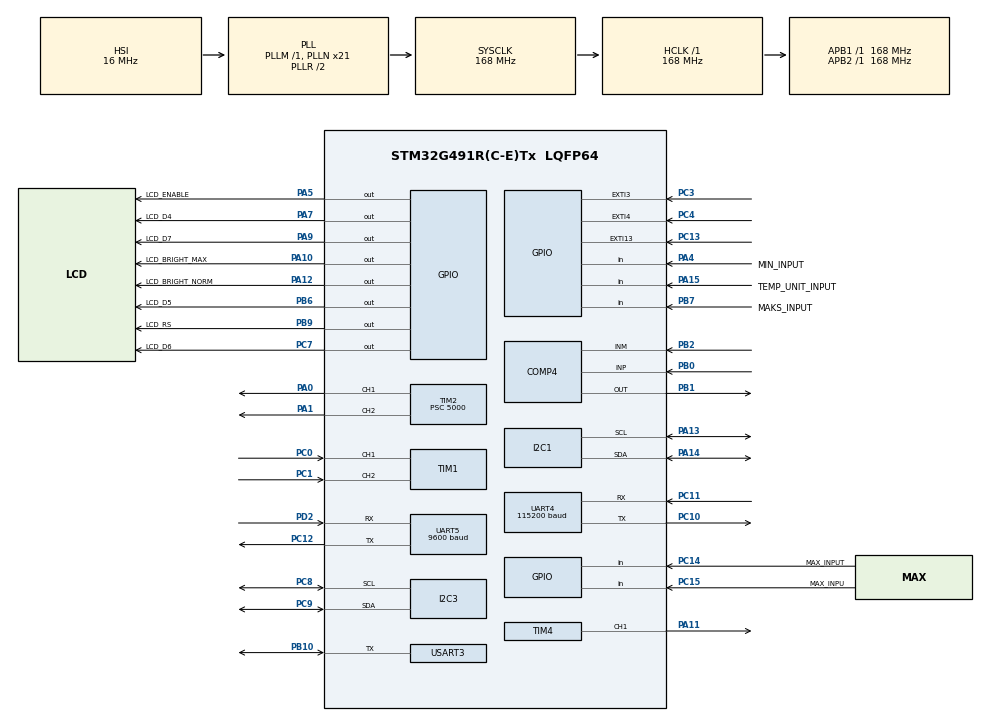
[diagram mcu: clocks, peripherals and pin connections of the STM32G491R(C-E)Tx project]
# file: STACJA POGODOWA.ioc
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I2C1.Timing=0x50916E9F
I2C3.Timing=0x50916E9F
Mcu.Family=STM32G4
Mcu.Name=STM32G491R(C-E)Tx
Mcu.Package=LQFP64
NVIC.EXTI15_10_IRQn=true\:0\:0\:false\:false\:true\:true\:true\:true
NVIC.EXTI3_IRQn=true\:0\:0\:false\:false\:true\:true\:true\:true
NVIC.EXTI4_IRQn=true\:0\:0\:false\:false\:true\:true\:true\:true
NVIC.PriorityGroup=NVIC_PRIORITYGROUP_4
NVIC.TIM3_IRQn=true\:0\:0\:false\:false\:true\:true\:true\:true
NVIC.TIM7_IRQn=true\:0\:0\:false\:false\:true\:true\:true\:true
PA0.Signal=S_TIM2_CH1
PA1.Signal=S_TIM2_CH2
PA10.GPIO_Label=LCD_BRIGHT_MAX
PA10.GPIO_ModeDefaultOutputPP=GPIO_MODE_OUTPUT_OD
PA10.GPIO_PuPd=GPIO_NOPULL
PA10.PinState=GPIO_PIN_SET
PA10.Signal=GPIO_Output
PA11.GPIO_PuPd=GPIO_PULLDOWN
PA11.Signal=S_TIM4_CH1
PA12.GPIO_Label=LCD_BRIGHT_NORM
PA12.GPIO_ModeDefaultOutputPP=GPIO_MODE_OUTPUT_OD
PA12.GPIO_PuPd=GPIO_NOPULL
PA12.PinState=GPIO_PIN_SET
PA12.Signal=GPIO_Output
PA13.Mode=I2C
PA13.Signal=I2C1_SCL
PA14.Mode=I2C
PA14.Signal=I2C1_SDA
PA15.GPIO_Label=TEMP_UNIT_INPUT
PA15.Signal=GPIO_Input
PA4.GPIO_Label=MIN_INPUT
PA4.GPIO_PuPd=GPIO_PULLUP
PA4.Signal=GPIO_Input
PA5.GPIO_Label=LCD_ENABLE
PA5.Signal=GPIO_Output
PA7.GPIO_Label=LCD_D4
PA7.Signal=GPIO_Output
PA9.GPIO_Label=LCD_D7
PA9.Signal=GPIO_Output
PB0.Mode=INP
PB0.Signal=COMP4_INP
PB1.Mode=ExternalOutput
PB1.Signal=COMP4_OUT
PB10.Mode=Half_duplex(single_wire_mode)
PB10.Signal=USART3_TX
PB2.Mode=INM
PB2.Signal=COMP4_INM
PB6.GPIO_Label=LCD_D5
PB6.Signal=GPIO_Output
PB7.GPIO_Label=MAKS_INPUT
PB7.GPIO_PuPd=GPIO_PULLUP
PB7.Signal=GPIO_Input
PB9.GPIO_Label=LCD_RS
PB9.Signal=GPIO_Output
PC0.Signal=S_TIM1_CH1
PC1.Signal=S_TIM1_CH2
PC10.Mode=Asynchronous
PC10.Signal=UART4_TX
PC11.Mode=Asynchronous
PC11.Signal=UART4_RX
PC12.Mode=Asynchronous
PC12.Signal=UART5_TX
PC13.GPIO_ModeDefaultEXTI=GPIO_MODE_IT_FALLING
PC13.Signal=GPXTI13
PC14-OSC32_IN.GPIO_Label=MAX_INPUT
PC14-OSC32_IN.GPIO_PuPd=GPIO_PULLUP
PC14-OSC32_IN.Signal=GPIO_Input
PC15-OSC32_OUT.GPIO_Label=MAX_INPU
PC15-OSC32_OUT.GPIO_PuPd=GPIO_PULLUP
PC15-OSC32_OUT.Signal=GPIO_Input
PC3.GPIO_ModeDefaultEXTI=GPIO_MODE_IT_FALLING
PC3.Signal=GPXTI3
PC4.GPIO_ModeDefaultEXTI=GPIO_MODE_IT_RISING_FALLING
PC4.Signal=GPXTI4
PC7.GPIO_Label=LCD_D6
PC7.Signal=GPIO_Output
PC8.Mode=I2C
PC8.Signal=I2C3_SCL
PC9.Mode=I2C
PC9.Signal=I2C3_SDA
PD2.Mode=Asynchronous
PD2.Signal=UART5_RX
PF0-OSC_IN.Mode=HSE-External-Oscillator
PF0-OSC_IN.Signal=RCC_OSC_IN
PF1-OSC_OUT.Mode=HSE-External-Oscillator
PF1-OSC_OUT.Signal=RCC_OSC_OUT
ProjectManager.HeapSize=0x200
ProjectManager.StackSize=0x400
ProjectManager.TargetToolchain=EWARM V8.50
RCC.ADC12Freq_Value=168000000
RCC.ADC345Freq_Value=168000000
RCC.AHBFreq_Value=168000000
RCC.APB1Freq_Value=168000000
RCC.APB1TimFreq_Value=168000000
RCC.APB2Freq_Value=168000000
RCC.APB2TimFreq_Value=168000000
RCC.CortexFreq_Value=168000000
RCC.EXTERNAL_CLOCK_VALUE=12288000
RCC.HCLKFreq_Value=168000000
RCC.HSE_VALUE=8000000
RCC.HSI48_VALUE=48000000
RCC.HSI_VALUE=16000000
RCC.LSE_VALUE=32768
RCC.PLLN=21
RCC.SYSCLKFreq_VALUE=168000000
RCC.SYSCLKSource=RCC_SYSCLKSOURCE_PLLCLK
RCC.USBFreq_Value=48000000
RCC.VCOOutputFreq_Value=336000000
RTC.Date=17
RTC.Hours=15
RTC.Minutes=39
RTC.Month=RTC_MONTH_FEBRUARY
RTC.WeekDay=RTC_WEEKDAY_SATURDAY
RTC.Year=24
SH.S_TIM1_CH1.0=TIM1_CH1,Encoder_Interface
SH.S_TIM1_CH2.0=TIM1_CH2,Encoder_Interface
SH.S_TIM2_CH1.0=TIM2_CH1,PWM Generation1 CH1
SH.S_TIM2_CH2.0=TIM2_CH2,PWM Generation2 CH2
SH.S_TIM4_CH1.0=TIM4_CH1,PWM Generation1 CH1
TIM2.Channel-PWM\ Generation1\ CH1=TIM_CHANNEL_1
TIM2.Channel-PWM\ Generation2\ CH2=TIM_CHANNEL_2
TIM2.PeriodNoDither=101
TIM2.Prescaler=5000
TIM2.PulseNoDither_1=40
TIM2.PulseNoDither_2=80
TIM3.AutoReloadPreload=TIM_AUTORELOAD_PRELOAD_DISABLE
TIM3.ClockDivision=TIM_CLOCKDIVISION_DIV4
TIM3.PeriodNoDither=59999
TIM3.Prescaler=59999
TIM4.AutoReloadPreload=TIM_AUTORELOAD_PRELOAD_DISABLE
TIM4.Channel-PWM\ Generation1\ CH1=TIM_CHANNEL_1
TIM4.ClockDivision=TIM_CLOCKDIVISION_DIV4
TIM4.Prescaler=648
TIM4.PulseNoDither_1=32000
TIM7.PeriodNoDither=2832
TIM7.Prescaler=59999
UART4.BaudRate=115200
UART5.BaudRate=9600
USART3.OverrunDisableParam=ADVFEATURE_OVERRUN_DISABLE
USART3.VirtualMode-Half_duplex(single_wire_mode)=VM_ASYNC
VP_DAC1_VS_DACI1.Mode=DAC_OUT1_Int
VP_RTC_VS_RTC_Activate.Mode=RTC_Enabled
VP_RTC_VS_RTC_Calendar.Mode=RTC_Calendar
VP_SYS_VS_DBSignals.Mode=DisableDeadBatterySignals
VP_TIM20_VS_ClockSourceINT.Mode=Internal
VP_TIM2_VS_ClockSourceINT.Mode=Internal
VP_TIM3_VS_ClockSourceINT.Mode=Internal
VP_TIM7_VS_ClockSourceINT.Mode=Enable_Timer
board=custom

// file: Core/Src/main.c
/* USER CODE BEGIN Header */
/**
  ******************************************************************************
  * @file           : main.c
  * @brief          : Main program body
  ******************************************************************************
  * @attention
  *
  * Copyright (c) 2024 STMicroelectronics.
  * All rights reserved.
  *
  * This software is licensed under terms that can be found in the LICENSE file
  * in the root directory of this software component.
  * If no LICENSE file comes with this software, it is provided AS-IS.
  *
  ******************************************************************************
  */
/* USER CODE END Header */
#include "main.h"
#include "comp.h"
#include "dac.h"
#include "i2c.h"
#include "rtc.h"
#include "tim.h"
#include "usart.h"
#include "gpio.h"

/* USER CODE BEGIN Includes */
#include <string.h>
#include <stdio.h>
#include <stdbool.h>
#include "exti.h"
#include "LPS25HB.h"
#include "SHT45.h"
#include "PMS7003.h"
#include "ILI9341.h"
#include "HD44780.h"
#include "RGB565.h"
#include "EPaper.h"
#include "OneWire.h"
#include "DS18B20.h"
#include "EEPROM_24AA01.h"
#include "units.h"
/* USER CODE END Includes */

/* USER CODE BEGIN PTD */
typedef union
{
  int16_t altitude;
  uint8_t memoryImage[2];
} altitudeUnion;

/* USER CODE END PTD */

/* USER CODE BEGIN PV */
 Measurements measurements;
 float tempFromSHT35;

bool isWarmingUp = true;
bool isFirstInterrupt = true;
bool shouldLightUpAlarmLED = false;
bool shouldUpdateEeprom = false;
bool shouldEnbleNormBrightness = false;
bool shoulEnable_maxBrightness = false;
bool shouldDelay = true;
bool isPM10Last = true;
altitudeUnion altitude;
/* USER CODE END PV */

void SystemClock_Config(void);
/* USER CODE BEGIN PFP */
void updateMinMaxF(float* value, float* min, float* max);
void updateMinMax(uint16_t* value, uint16_t* min, uint16_t* max);
/* USER CODE END PFP */

/* USER CODE BEGIN 0 */
void handleTimer3PeriodElapsed()
{
  if(isFirstInterrupt == true)
   {
     isFirstInterrupt = false;
   }
   else
   {
     HAL_TIM_Base_Stop_IT(&htim3);
     const char* communicate = "DEBUG: Gas sensor warmed up\r\n";
     HAL_UART_Transmit(&huart4, communicate, strlen(communicate), HAL_MAX_DELAY);
     HAL_GPIO_EXTI_Callback(GPIO_PIN_4);
   }
}

void handleTimer7PeriodElapsed()
{
  if(shouldLightUpAlarmLED == true)
   {
     HAL_TIM_PWM_Start(&htim2, TIM_CHANNEL_2);
     shouldLightUpAlarmLED = false;
   }
   else
   {
     HAL_TIM_PWM_Stop(&htim2, TIM_CHANNEL_2);
     shouldLightUpAlarmLED = true;
   }
}

void HAL_TIM_PeriodElapsedCallback(TIM_HandleTypeDef* htim)
{
  if(htim == &htim3) handleTimer3PeriodElapsed();
  else if(htim == &htim7) handleTimer7PeriodElapsed();
}

void updateMinMaxF(float* value, float* min, float* max)
{
    if(*min > *value) *min = *value;
    if(*max < *value) *max = *value;
}

void updateMinMax(uint16_t* value, uint16_t* min, uint16_t* max)
{
    if(*min > *value) *min = *value;
    if(*max < *value) *max = *value;
}

void convertMeasurementsToCelsius()
{
    measurements.tempUnit = CELSIUS;
    convertFahrenheitToCelsius(&measurements.outdoorTemp);
    convertFahrenheitToCelsius(&tempFromSHT35);
    convertFahrenheitToCelsius(&measurements.temp);
    convertFahrenheitToCelsius(&measurements.minTemp);
    convertFahrenheitToCelsius(&measurements.maxTemp);
    convertFahrenheitToCelsius(&measurements.maxOutdoorTemp);
    convertFahrenheitToCelsius(&measurements.minOutdoorTemp);
}

void convertMeasurementsToFahrenheit()
{
  measurements.tempUnit = FAHRENHEIT;
  convertCelsiusToFahrenheit(&measurements.outdoorTemp);
  convertCelsiusToFahrenheit(&tempFromSHT35);
  convertCelsiusToFahrenheit(&measurements.temp);
  convertCelsiusToFahrenheit(&measurements.minTemp);
  convertCelsiusToFahrenheit(&measurements.maxTemp);
  convertCelsiusToFahrenheit(&measurements.maxOutdoorTemp);
  convertCelsiusToFahrenheit(&measurements.minOutdoorTemp);
}

/* USER CODE END 0 */

int main(void)
{

  /* USER CODE BEGIN 1 */
  altitudeUnion tmp;
  /* USER CODE END 1 */

  /* MCU Configuration--------------------------------------------------------*/

  /* Reset of all peripherals, Initializes the Flash interface and the Systick. */
  HAL_Init();

  /* Configure the system clock */
  SystemClock_Config();

  /* Initialize all configured peripherals */
  MX_GPIO_Init();
  MX_UART4_Init();
  MX_I2C1_Init();
  MX_I2C3_Init();
  MX_RTC_Init();
  MX_UART5_Init();
  MX_DAC1_Init();
  MX_TIM2_Init();
  MX_TIM3_Init();
  MX_USART3_UART_Init();
  MX_TIM4_Init();
  MX_TIM7_Init();
  MX_COMP4_Init();
  MX_TIM1_Init();
  MX_TIM20_Init();
  /* USER CODE BEGIN 2 */
  oneWire_HandleTypeDef* hOneWire = &huart3;
  oneWireReset(hOneWire);
  HAL_GPIO_EXTI_Callback(GPIO_PIN_13);
  /* USER CODE END 2 */

  /* Infinite loop */
  /* USER CODE BEGIN WHILE */

  //HAL_GPIO_WritePin(LCD_BRIGHT_NORM_GPIO_Port, LCD_BRIGHT_NORM_Pin, GPIO_PIN_RESET);

  char communicate[256];
  char unit[5];

  uint32_t brightnessState;
  measurements.tempUnit = CELSIUS;

  RTC_DateTypeDef date;
  RTC_TimeTypeDef time;

  EEPROM_24AA01_HandleTypeDef eeprom;
  strcpy(eeprom.name, "i2c eeprom");
  eeprom.bus = &hi2c3;

  SHT45_HandleTypeDef sht45_Sensor;
  strcpy(sht45_Sensor.name, "indoor humidity sensor");
  sht45_Sensor.bus = &hi2c3;

  LPS25HB_HandleTypeDef lps25hb_Sensor;
  strcpy(lps25hb_Sensor.name, "indoor pressure sensor");
  lps25hb_Sensor.bus = &hi2c1;
  lps25hb_Sensor.sensorAltitude = altitude.altitude;

  PMS7003_HandleTypeDef pms7003_Sensor;
  strcpy(pms7003_Sensor.name, "indoor air pollution sensor");
  pms7003_Sensor.bus = &huart5;

  DS18B20_HandleTypeDef ds18b20_Sensor;
  strcpy(ds18b20_Sensor.name, "outdoor temperature sensor");
  ds18b20_Sensor.bus = hOneWire;
  uint8_t romCode[] = {0x28, 0x7e, 0x4c, 0x14, 0x00, 0x00, 0x00, 0x6b};
  for(uint8_t i = 0 ; i < 8; i++)
  {
    ds18b20_Sensor.idNumber[i] = romCode[i];
  }

  HAL_TIM_Base_Start(&htim2);
  HAL_TIM_PWM_Start(&htim2, TIM_CHANNEL_1);
  HAL_TIM_PWM_Start(&htim2, TIM_CHANNEL_2);
  HAL_TIM_Base_Start_IT(&htim3);

  HAL_TIM_Encoder_Start(&htim1, TIM_CHANNEL_ALL);
  EEPROM_24AA01_ReadByte(&eeprom, 0x40, &altitude.memoryImage[0]);
  EEPROM_24AA01_ReadByte(&eeprom, 0x41, &altitude.memoryImage[1]);
  __HAL_TIM_SET_COUNTER(&htim1, altitude.altitude * 2);

  sprintf(communicate, "Weather station hello!\r\n");
  HAL_UART_Transmit(&huart4, communicate, strlen(communicate), HAL_MAX_DELAY);
  SHT45_init(&sht45_Sensor);
  sprintf(communicate, "SHT45 initialization... OK\r\n");
  HAL_UART_Transmit(&huart4, communicate, strlen(communicate), HAL_MAX_DELAY);

  if(LPS25HB_init(&lps25hb_Sensor) == -1)
  {
    sprintf(communicate, "LPS25HB pressure sensor initliazation... FAILED\r\n");
    HAL_UART_Transmit(&huart4, communicate, strlen(communicate), HAL_MAX_DELAY);
  }
  else
  {
    sprintf(communicate, "LPS25HB pressure sesnsor initialization... OK\r\n");
    HAL_UART_Transmit(&huart4, communicate, strlen(communicate), HAL_MAX_DELAY);
  }

  HD44780_Pin d4;
  d4.Port = LCD_D4_GPIO_Port;
  d4.Pin = LCD_D4_Pin;

  HD44780_Pin d5;
  d5.Port = LCD_D5_GPIO_Port;
  d5.Pin = LCD_D5_Pin;

  HD44780_Pin d6;
  d6.Port = LCD_D6_GPIO_Port;
  d6.Pin = LCD_D6_Pin;

  HD44780_Pin d7;
  d7.Port = LCD_D7_GPIO_Port;
  d7.Pin = LCD_D7_Pin;

  HD44780_Pin rs;
  rs.Port = LCD_RS_GPIO_Port;
  rs.Pin = LCD_RS_Pin;

  HD44780_Pin enable;
  enable.Port = LCD_ENABLE_GPIO_Port;
  enable.Pin = LCD_ENABLE_Pin;

  HD44780_HandleTypeDef hHD44780;
  hHD44780.D4 = d4;
  hHD44780.D5 = d5;
  hHD44780.D6 = d6;
  hHD44780.D7 = d7;
  hHD44780.RS = rs;
  hHD44780.Enable = enable;

  HD44780_Init(&hHD44780);

  sprintf(communicate, "HD44780 initialization (master only) DONE\r\n");
  HAL_UART_Transmit(&huart4, communicate, strlen(communicate), HAL_MAX_DELAY);
  HAL_GPIO_WritePin(LCD_BRIGHT_NORM_GPIO_Port, LCD_BRIGHT_NORM_Pin, GPIO_PIN_RESET);

  char lcdString[21];
  HAL_COMP_Start(&hcomp4);
  HAL_DAC_Start(&hdac1, DAC_CHANNEL_1);
   HAL_DAC_SetValue(&hdac1, DAC_CHANNEL_1, DAC_ALIGN_12B_R, 02570); // dobrane empirycznie
  while (1)
  {
    brightnessState = HAL_COMP_GetOutputLevel(&hcomp4);
    //HAL_COMP_Stop(&hcomp4);
    //HAL_DAC_Stop(&hdac1, DAC_CHANNEL_1);
    PMS7003_getResults(&pms7003_Sensor, &measurements.pm1_0, &measurements.pm2_5, &measurements.pm10);
    updateMinMax(&measurements.pm1_0, &measurements.minPm1_0, &measurements.maxPm1_0);
      updateMinMax(&measurements.pm2_5, &measurements.minPm2_5, &measurements.maxPm2_5);
      updateMinMax(&measurements.pm10, &measurements.minPm10, &measurements.maxPm10);

      LPS25HB_performMeasurement(&lps25hb_Sensor);
      measurements.temp = LPS25HB_getTemp(&lps25hb_Sensor, measurements.tempUnit);
      updateMinMaxF(&measurements.temp, &measurements.minTemp, &measurements.maxTemp);

      altitude.altitude = (int16_t) (__HAL_TIM_GET_COUNTER(&htim1) / 2);
      if(altitude.altitude > 30000)
      {
        altitude.altitude -= 32768;
      }
      lps25hb_Sensor.sensorAltitude = altitude.altitude;
      measurements.pressure = LPS25HB_getPressureIn_hPa(&lps25hb_Sensor);
      updateMinMaxF(&measurements.pressure, &measurements.minPressure, &measurements.maxPressure);

      DS18B20_convertT(&ds18b20_Sensor);
      HAL_Delay(750);
      DS18B20_getResult(&ds18b20_Sensor, &measurements.outdoorTemp, measurements.tempUnit);
      HAL_Delay(10);
      updateMinMaxF(&measurements.outdoorTemp, &measurements.minOutdoorTemp, &measurements.maxOutdoorTemp);

      HAL_RTC_GetTime(&hrtc, &time, RTC_FORMAT_BIN);
      HAL_RTC_GetDate(&hrtc, &date, RTC_FORMAT_BIN);

      SHT45_getResults(&sht45_Sensor, &tempFromSHT35, measurements.tempUnit, &measurements.humidity);
      updateMinMaxF(&measurements.humidity, &measurements.minHumidity, &measurements.maxHumidity);

      if(HAL_GPIO_ReadPin(GPIOA, TEMP_UNIT_INPUT_Pin) == GPIO_PIN_RESET && measurements.tempUnit == CELSIUS)
      {
        convertMeasurementsToFahrenheit();
      }
      else if (HAL_GPIO_ReadPin(GPIOA, TEMP_UNIT_INPUT_Pin) == GPIO_PIN_SET && measurements.tempUnit == FAHRENHEIT)
      {
        convertMeasurementsToCelsius();
      }
      sprintf(unit, "%c", getTemperatureUnitSymbol(measurements.tempUnit));
      sprintf(communicate, "Raport na: %02d-%02d-%4d %02d:%02d:%02d\r\n",  date.Date, date.Month, date.Year + 2000, time.Hours, time.Minutes, time.Seconds);
      HAL_UART_Transmit(&huart4, communicate, strlen(communicate), HAL_MAX_DELAY);
      if(brightnessState == COMP_OUTPUT_LEVEL_HIGH)
      {
        sprintf(communicate, "Jest jasno\r\n");
      }
      else
      {
        sprintf(communicate, "Jest ciemno\r\n");
      }

      HAL_UART_Transmit(&huart4, communicate, strlen(communicate), HAL_MAX_DELAY);
      sprintf(communicate, "Temperatura wynosi (LPS25HB) %.2f \xC2\xB0%s / (SHT35) %.2f \xC2\xB0%s\tmin: %.2f \xC2\xB0%s\tmax: %.2f \xC2\xB0%s\r\n", measurements.temp, unit, tempFromSHT35, unit, measurements.minTemp, unit, measurements.maxTemp, unit);
      HAL_UART_Transmit(&huart4, communicate, strlen(communicate), HAL_MAX_DELAY);
      sprintf(communicate, "Temperatura na zewnatrz wynosi %.2f \xC2\xB0%s\tmin: %.2f \xC2\xB0%s\tmax: %.2f \xC2\xB0%s\r\n", measurements.outdoorTemp, unit, measurements.minOutdoorTemp, unit, measurements.maxOutdoorTemp, unit);
      HAL_UART_Transmit(&huart4, communicate, strlen(communicate), HAL_MAX_DELAY);
      sprintf(communicate, "Cisnienie wynosi: %.2f hPa\tmin: %.2f hPa\tmax: %.2f hPa\r\n", measurements.pressure, measurements.minPressure, measurements.maxPressure);
      HAL_UART_Transmit(&huart4, communicate, strlen(communicate), HAL_MAX_DELAY);
      sprintf(communicate, "Wilgotnosc wzgledna wynosi %.1f RH\tmin: %.1f RH\tmax: %.1f RH\r\n", measurements.humidity, measurements.minHumidity, measurements.maxHumidity);
      HAL_UART_Transmit(&huart4, communicate, strlen(communicate), HAL_MAX_DELAY);
      sprintf(communicate, "Stezenie pylu zawieszonego PM 1.0 wynosi %hu ug/m3\tmin: %hu ug/m3\tmax: %hu ug/m3\r\nStezenie pylu zawieszonego PM 2.5 wynosi %hu ug/m3\tmin: %hu ug/m3\tmax: %hu ug/m3\r\nStezenie pylu zawieszonego PM 10 wynosi %hu ug/m3\tmin: %hu ug/m3\tmax: %hu ug/m3\r\n\r\n",
               measurements.pm1_0, measurements.minPm1_0, measurements.maxPm1_0, measurements.pm2_5, measurements.minPm2_5, measurements.maxPm2_5, measurements.pm10, measurements.minPm10, measurements.maxPm10);
      HAL_UART_Transmit(&huart4, communicate, strlen(communicate), HAL_MAX_DELAY);

      sprintf(communicate, "%.2f %.2f %.1f %hu %hu %hu \r\n", measurements.temp, measurements.pressure, measurements.humidity, measurements.pm1_0, measurements.pm2_5, measurements.pm10);
      HAL_UART_Transmit(&huart5, communicate, strlen(communicate), HAL_MAX_DELAY);

      if(shouldEnbleNormBrightness || shoulEnable_maxBrightness){
        clearDisplay(&hHD44780);
        HAL_Delay(5);
        if(shoulEnable_maxBrightness){
          HAL_GPIO_WritePin(LCD_BRIGHT_MAX_GPIO_Port, LCD_BRIGHT_MAX_Pin, GPIO_PIN_RESET);
          HD44780_SetDDRAMAdress(&hHD44780, 0);
          sprintf(lcdString, "ALARM, GAZY PALNE!");
          HD44780_DisplayString(&hHD44780, lcdString);
          shoulEnable_maxBrightness = false;
          while (shouldEnbleNormBrightness == false){};
          HAL_Delay(5);
        }
         HAL_GPIO_WritePin(LCD_BRIGHT_NORM_GPIO_Port, LCD_BRIGHT_NORM_Pin, GPIO_PIN_RESET);
         shouldEnbleNormBrightness = false;
         clearDisplay(&hHD44780);
      }

      if(HAL_GPIO_ReadPin(MIN_INPUT_GPIO_Port, MIN_INPUT_Pin) == GPIO_PIN_RESET){
        measurements.pressure = measurements.minPressure;
        measurements.humidity = measurements.minHumidity;
        measurements.pm10 = measurements.minPm10;
        measurements.pm2_5 = measurements.minPm2_5;
        measurements.pm1_0 = measurements.minPm1_0;
        measurements.outdoorTemp = measurements.minOutdoorTemp;
        measurements.temp = measurements.minTemp;
      }
        else if(HAL_GPIO_ReadPin(MAKS_INPUT_GPIO_Port, MAKS_INPUT_Pin) == GPIO_PIN_RESET){
        measurements.pressure = measurements.maxPressure;
        measurements.humidity = measurements.maxHumidity;
        measurements.pm10 = measurements.maxPm10;
        measurements.pm2_5 = measurements.maxPm2_5;
        measurements.pm1_0 = measurements.maxPm1_0;
        measurements.outdoorTemp = measurements.maxOutdoorTemp;
        measurements.temp = measurements.maxTemp;
      }

      HD44780_SetDDRAMAdress(&hHD44780, 0);
      sprintf(lcdString, "%c%.1f\xDF%c %.1f\xDF%c", (tempFromSHT35 >= 0)? ' ' : '-', tempFromSHT35, getTemperatureUnitSymbol(measurements.tempUnit), measurements.outdoorTemp, getTemperatureUnitSymbol(measurements.tempUnit));
      HD44780_DisplayString(&hHD44780, lcdString);

      HD44780_SetDDRAMAdress(&hHD44780, 0x40);
      if(measurements.pressure < 1000){
        sprintf(lcdString, " %d hPa %d m.n.p.m.", (uint16_t) measurements.pressure, altitude.altitude);
      }
      else{
        sprintf(lcdString, "%d hPa %d m.n.p.m.", (uint16_t) measurements.pressure,  altitude.altitude);
      }
      HD44780_DisplayString(&hHD44780, lcdString);

      HD44780_SetDDRAMAdress(&hHD44780, 0x14);
      sprintf(lcdString, "PM1 %d ug/m3 %d%% RH", measurements.pm1_0, (uint16_t) measurements.humidity);
      HD44780_DisplayString(&hHD44780, lcdString);

      HD44780_SetDDRAMAdress(&hHD44780, 0x54);
      if(isPM10Last){
        sprintf(lcdString, "PM2.5 %d ug/m3", measurements.pm2_5);
      }
      else{
        sprintf(lcdString, "PM10 %d ug/m3", measurements.pm10);
      }
      HD44780_DisplayString(&hHD44780, lcdString);
      isPM10Last = !isPM10Last;

      if(shouldUpdateEeprom)
      {
        shouldUpdateEeprom = false;
        EEPROM_24AA01_ReadByte(&eeprom, 0x40, &tmp.memoryImage[0]);
        EEPROM_24AA01_ReadByte(&eeprom, 0x41, &tmp.memoryImage[1]);
        if(tmp.altitude != altitude.altitude)
        {
          EEPROM_24AA01_WriteByte(&eeprom, 0x40, &altitude.memoryImage[0]);
          EEPROM_24AA01_WriteByte(&eeprom, 0x41, &altitude.memoryImage[1]);
          sprintf(communicate, "Altitude %d saved to eeprom\r\n", altitude.altitude);
          HAL_UART_Transmit(&huart4, communicate, strlen(communicate), HAL_MAX_DELAY);
        }
      }

      HAL_Delay(250);
    /* USER CODE END WHILE */

  }
}

void SystemClock_Config(void)
{
  RCC_OscInitTypeDef RCC_OscInitStruct = {0};
  RCC_ClkInitTypeDef RCC_ClkInitStruct = {0};

  /** Configure the main internal regulator output voltage
  */
  HAL_PWREx_ControlVoltageScaling(PWR_REGULATOR_VOLTAGE_SCALE1_BOOST);

  /** Initializes the RCC Oscillators according to the specified parameters
  * in the RCC_OscInitTypeDef structure.
  */
  RCC_OscInitStruct.OscillatorType = RCC_OSCILLATORTYPE_HSI|RCC_OSCILLATORTYPE_LSI;
  RCC_OscInitStruct.HSIState = RCC_HSI_ON;
  RCC_OscInitStruct.HSICalibrationValue = RCC_HSICALIBRATION_DEFAULT;
  RCC_OscInitStruct.LSIState = RCC_LSI_ON;
  RCC_OscInitStruct.PLL.PLLState = RCC_PLL_ON;
  RCC_OscInitStruct.PLL.PLLSource = RCC_PLLSOURCE_HSI;
  RCC_OscInitStruct.PLL.PLLM = RCC_PLLM_DIV1;
  RCC_OscInitStruct.PLL.PLLN = 21;
  RCC_OscInitStruct.PLL.PLLP = RCC_PLLP_DIV2;
  RCC_OscInitStruct.PLL.PLLQ = RCC_PLLQ_DIV2;
  RCC_OscInitStruct.PLL.PLLR = RCC_PLLR_DIV2;
  if (HAL_RCC_OscConfig(&RCC_OscInitStruct) != HAL_OK)
  {
    Error_Handler();
  }

  /** Initializes the CPU, AHB and APB buses clocks
  */
  RCC_ClkInitStruct.ClockType = RCC_CLOCKTYPE_HCLK|RCC_CLOCKTYPE_SYSCLK
                              |RCC_CLOCKTYPE_PCLK1|RCC_CLOCKTYPE_PCLK2;
  RCC_ClkInitStruct.SYSCLKSource = RCC_SYSCLKSOURCE_PLLCLK;
  RCC_ClkInitStruct.AHBCLKDivider = RCC_SYSCLK_DIV1;
  RCC_ClkInitStruct.APB1CLKDivider = RCC_HCLK_DIV1;
  RCC_ClkInitStruct.APB2CLKDivider = RCC_HCLK_DIV1;

  if (HAL_RCC_ClockConfig(&RCC_ClkInitStruct, FLASH_LATENCY_4) != HAL_OK)
  {
    Error_Handler();
  }
}

void Error_Handler(void)
{
  __disable_irq();
  while (1)
  {
  }
}
